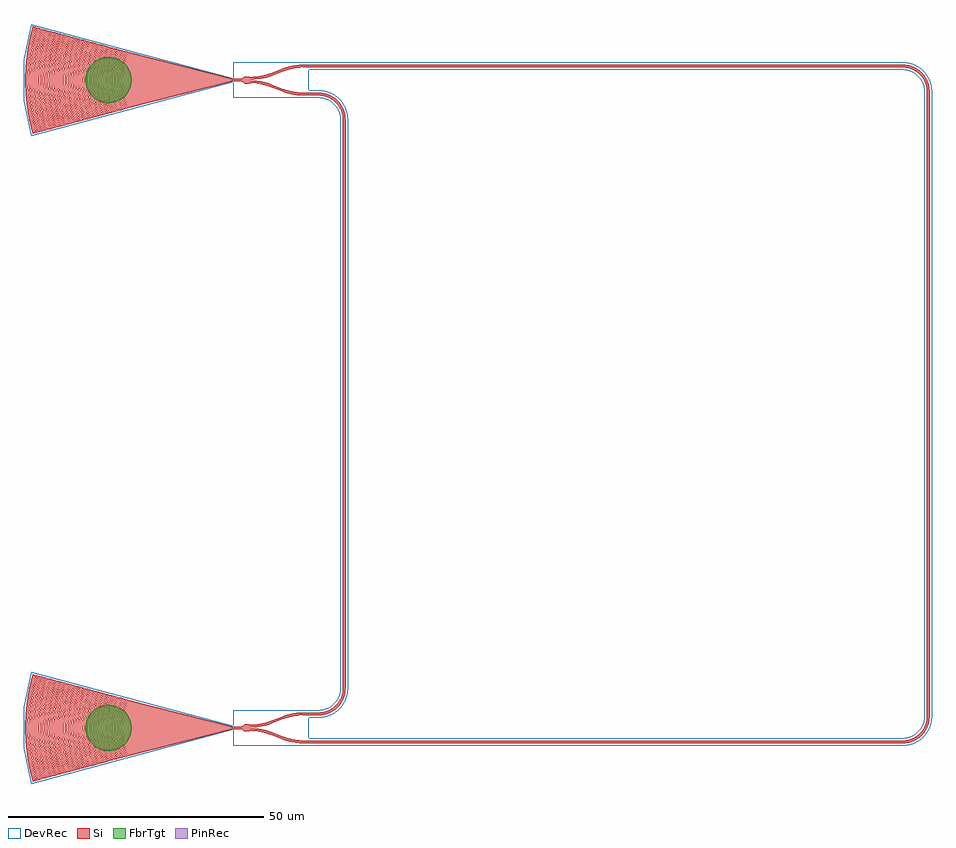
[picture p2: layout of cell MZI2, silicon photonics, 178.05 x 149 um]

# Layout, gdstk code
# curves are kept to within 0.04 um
import gdstk
lib = gdstk.Library(unit=1e-6, precision=1e-09)
def R(c, l, rs):  # rectangles x0, y0, x1, y1
    for r in rs: c.add(gdstk.rectangle(r[:2], r[2:], *l))
def P(c, l, *ps):  # polygons
    for p in ps: c.add(gdstk.Polygon(p, *l))
Si = (1, 0)
PinRec = (1, 10)
DevRec = (68, 0)
FbrTgt = (81, 0)

tm1550_subgc_10degree_ox = lib.new_cell('TM1550_SubGC_10degree_oxide')
P(tm1550_subgc_10degree_ox, Si, [(-20.951,-5.614),(-21.312,-4.239),(-21.572,-2.84),(-21.733,-1.367),(-21.781,-0.057),(-21.733,1.367),(-21.572,2.84),(-21.312,4.239),(-20.951,5.614),(-20.815,5.577),(-21.015,4.871),(-21.223,3.991),(-21.371,3.213),(-21.508,2.261),(-21.611,1.076),(-21.641,0.057),(-21.611,-1.076),(-21.508,-2.261),(-21.371,-3.213),(-21.223,-3.991),(-21.015,-4.871),(-20.815,-5.577)],
  [(-21.624,-5.794),(-22.009,-4.318),(-22.255,-2.989),(-22.416,-1.587),(-22.478,-0.177),(-22.437,1.294),(-22.272,2.873),(-22.009,4.318),(-21.624,5.794),(-21.069,5.645),(-21.621,3.308),(-21.882,0.917),(-21.887,-0.803),(-21.748,-2.459),(-21.481,-4.039),(-21.069,-5.645)],
  [(-21.878,-5.862),(-22.116,-5.004),(-22.279,-4.31),(-22.524,-2.965),(-22.622,-2.198),(-22.691,-1.428),(-22.741,-0.06),(-22.691,1.428),(-22.622,2.198),(-22.524,2.965),(-22.279,4.31),(-22.116,5.004),(-21.878,5.862),(-21.743,5.826),(-21.95,5.088),(-22.154,4.226),(-22.32,3.356),(-22.441,2.537),(-22.563,1.242),(-22.601,0.059),(-22.563,-1.242),(-22.441,-2.537),(-22.32,-3.356),(-22.154,-4.226),(-21.95,-5.088),(-21.743,-5.826)],
  [(-22.552,-6.043),(-22.911,-4.682),(-23.188,-3.238),(-23.378,-1.594),(-23.438,-0.184),(-23.387,1.471),(-23.233,2.935),(-22.951,4.503),(-22.552,6.043),(-21.996,5.894),(-22.56,3.513),(-22.744,2.21),(-22.844,0.898),(-22.849,-0.778),(-22.702,-2.566),(-22.412,-4.275),(-21.996,-5.894)],
  [(-22.805,-6.111),(-23.168,-4.735),(-23.309,-4.068),(-23.457,-3.213),(-23.542,-2.599),(-23.64,-1.612),(-23.686,-0.806),(-23.701,-0.062),(-23.686,0.806),(-23.649,1.488),(-23.493,2.968),(-23.366,3.763),(-23.195,4.614),(-23.006,5.396),(-22.805,6.111),(-22.67,6.074),(-22.885,5.304),(-23.11,4.346),(-23.28,3.438),(-23.395,2.645),(-23.525,1.233),(-23.561,0.062),(-23.525,-1.233),(-23.395,-2.645),(-23.28,-3.438),(-23.11,-4.346),(-22.885,-5.304),(-22.67,-6.074)],
  [(-23.479,-6.291),(-23.893,-4.688),(-24.167,-3.182),(-24.336,-1.659),(-24.398,-0.128),(-24.345,1.532),(-24.167,3.182),(-23.893,4.688),(-23.479,6.291),(-22.923,6.142),(-23.26,4.88),(-23.519,3.599),(-23.706,2.241),(-23.806,0.873),(-23.806,-0.873),(-23.656,-2.674),(-23.368,-4.394),(-22.923,-6.142)],
  [(-23.732,-6.359),(-24.094,-4.99),(-24.266,-4.17),(-24.418,-3.28),(-24.526,-2.448),(-24.598,-1.677),(-24.64,-0.968),(-24.661,-0.065),(-24.645,0.839),(-24.598,1.677),(-24.526,2.448),(-24.418,3.28),(-24.302,3.98),(-24.094,4.99),(-23.732,6.359),(-23.597,6.323),(-23.852,5.397),(-24.04,4.586),(-24.219,3.641),(-24.357,2.689),(-24.484,1.283),(-24.521,0.064),(-24.484,-1.283),(-24.357,-2.689),(-24.219,-3.641),(-24.04,-4.586),(-23.852,-5.397),(-23.597,-6.323)],
  [(-24.406,-6.54),(-24.821,-4.937),(-25.119,-3.307),(-25.308,-1.526),(-25.358,-0.133),(-25.308,1.526),(-25.119,3.307),(-24.821,4.937),(-24.406,6.54),(-23.851,6.391),(-24.214,5.014),(-24.468,3.744),(-24.655,2.396),(-24.765,0.908),(-24.765,-0.908),(-24.61,-2.782),(-24.298,-4.635),(-23.851,-6.391)],
  [(-24.66,-6.608),(-25.064,-5.054),(-25.213,-4.332),(-25.379,-3.341),(-25.481,-2.543),(-25.57,-1.542),(-25.621,-0.067),(-25.57,1.542),(-25.481,2.543),(-25.379,3.341),(-25.213,4.332),(-25.064,5.054),(-24.66,6.608),(-24.525,6.571),(-24.772,5.674),(-24.997,4.701),(-25.19,3.652),(-25.303,2.861),(-25.43,1.533),(-25.481,0.067),(-25.43,-1.533),(-25.303,-2.861),(-25.19,-3.652),(-24.997,-4.701),(-24.772,-5.674),(-24.525,-6.571)],
  [(-25.333,-6.788),(-25.702,-5.393),(-26.04,-3.636),(-26.246,-1.858),(-26.318,-0.138),(-26.266,1.583),(-26.09,3.296),(-25.777,5.057),(-25.333,6.788),(-24.778,6.639),(-25.139,5.275),(-25.439,3.756),(-25.631,2.287),(-25.727,0.876),(-25.727,-0.876),(-25.572,-2.823),(-25.241,-4.815),(-24.778,-6.639)],
  [(-25.587,-6.856),(-25.81,-6.054),(-26.02,-5.176),(-26.172,-4.427),(-26.321,-3.535),(-26.421,-2.777),(-26.508,-1.877),(-26.564,-0.904),(-26.581,-0.07),(-26.569,0.765),(-26.528,1.599),(-26.444,2.57),(-26.341,3.398),(-26.197,4.29),(-26.02,5.176),(-25.81,6.054),(-25.587,6.856),(-25.452,6.82),(-25.708,5.888),(-25.926,4.946),(-26.129,3.858),(-26.257,2.968),(-26.393,1.522),(-26.441,0.069),(-26.393,-1.522),(-26.257,-2.968),(-26.129,-3.858),(-25.926,-4.946),(-25.708,-5.888),(-25.452,-6.82)],
  [(-26.261,-7.037),(-26.704,-5.312),(-27.012,-3.628),(-27.204,-1.926),(-27.278,-0.143),(-27.229,1.57),(-27.052,3.346),(-26.704,5.312),(-26.261,7.037),(-25.705,6.888),(-26.063,5.54),(-26.366,4.034),(-26.566,2.581),(-26.684,0.978),(-26.678,-1.118),(-26.509,-3.067),(-26.184,-4.995),(-25.705,-6.888)],
  [(-26.514,-7.104),(-26.744,-6.273),(-26.946,-5.433),(-27.157,-4.374),(-27.293,-3.52),(-27.471,-1.873),(-27.521,-1.009),(-27.541,-0.072),(-27.491,1.585),(-27.407,2.591),(-27.293,3.52),(-27.157,4.374),(-26.946,5.433),(-26.744,6.273),(-26.514,7.104),(-26.379,7.068),(-26.626,6.172),(-26.869,5.126),(-27.067,4.069),(-27.202,3.147),(-27.351,1.577),(-27.401,0.072),(-27.36,-1.434),(-27.289,-2.363),(-27.202,-3.147),(-27.067,-4.069),(-26.869,-5.126),(-26.626,-6.172),(-26.379,-7.068)],
  [(-27.188,-7.285),(-27.661,-5.427),(-27.974,-3.683),(-28.167,-1.92),(-28.238,-0.148),(-28.192,1.551),(-27.995,3.537),(-27.661,5.427),(-27.188,7.285),(-26.633,7.136),(-27.002,5.739),(-27.315,4.18),(-27.529,2.602),(-27.646,0.941),(-27.637,-1.158),(-27.444,-3.321),(-27.127,-5.175),(-26.633,-7.136)],
  [(-27.442,-7.353),(-27.871,-5.696),(-28.065,-4.747),(-28.213,-3.865),(-28.347,-2.829),(-28.429,-1.938),(-28.483,-0.97),(-28.501,-0.075),(-28.483,0.97),(-28.429,1.938),(-28.355,2.755),(-28.245,3.643),(-28.065,4.747),(-27.903,5.55),(-27.716,6.348),(-27.442,7.353),(-27.306,7.317),(-27.543,6.46),(-27.797,5.378),(-27.992,4.358),(-28.146,3.331),(-28.305,1.706),(-28.361,0.074),(-28.346,-0.891),(-28.305,-1.706),(-28.146,-3.331),(-27.992,-4.358),(-27.797,-5.378),(-27.543,-6.46),(-27.306,-7.317)],
  [(-28.115,-7.533),(-28.587,-5.686),(-28.904,-3.959),(-29.125,-1.986),(-29.198,-0.153),(-29.141,1.757),(-28.937,3.733),(-28.587,5.686),(-28.115,7.533),(-27.56,7.385),(-27.991,5.72),(-28.3,4.103),(-28.507,2.469),(-28.608,0.899),(-28.596,-1.199),(-28.416,-3.288),(-28.07,-5.355),(-27.56,-7.385)],
  [(-28.369,-7.601),(-28.633,-6.637),(-28.828,-5.813),(-28.997,-4.983),(-29.164,-3.995),(-29.285,-3.078),(-29.381,-2.08),(-29.433,-1.234),(-29.461,-0.077),(-29.45,0.771),(-29.403,1.773),(-29.334,2.618),(-29.208,3.69),(-29.079,4.528),(-28.877,5.587),(-28.633,6.637),(-28.369,7.601),(-28.234,7.565),(-28.515,6.531),(-28.755,5.485),(-28.953,4.43),(-29.109,3.368),(-29.268,1.688),(-29.321,0.077),(-29.308,-0.844),(-29.268,-1.688),(-29.128,-3.216),(-28.978,-4.279),(-28.786,-5.335),(-28.552,-6.382),(-28.234,-7.565)],
  [(-29.043,-7.782),(-29.545,-5.796),(-29.878,-3.933),(-30.094,-1.893),(-30.158,-0.158),(-30.094,1.893),(-29.9,3.777),(-29.545,5.796),(-29.043,7.782),(-28.487,7.633),(-28.948,5.837),(-29.25,4.241),(-29.456,2.629),(-29.565,1.007),(-29.562,-1.084),(-29.37,-3.398),(-29.013,-5.534),(-28.487,-7.633)],
  [(-29.296,-7.85),(-29.568,-6.853),(-29.803,-5.847),(-30.014,-4.754),(-30.138,-3.968),(-30.266,-2.941),(-30.356,-1.91),(-30.402,-1.035),(-30.421,-0.08),(-30.402,1.035),(-30.356,1.91),(-30.266,2.941),(-30.138,3.968),(-30.014,4.754),(-29.803,5.847),(-29.568,6.853),(-29.296,7.85),(-29.161,7.814),(-29.451,6.745),(-29.73,5.51),(-29.928,4.419),(-30.082,3.321),(-30.236,1.585),(-30.281,0.079),(-30.236,-1.585),(-30.082,-3.321),(-29.928,-4.419),(-29.73,-5.51),(-29.451,-6.745),(-29.161,-7.814)],
  [(-29.97,-8.03),(-30.453,-6.14),(-30.818,-4.139),(-31.028,-2.279),(-31.118,-0.163),(-31.052,1.954),(-30.841,3.978),(-30.47,6.061),(-29.97,8.03),(-29.415,7.882),(-29.872,6.105),(-30.248,4.063),(-30.448,2.316),(-30.543,0.16),(-30.478,-1.917),(-30.248,-4.063),(-29.872,-6.105),(-29.415,-7.882)],
  [(-30.223,-8.098),(-30.483,-7.15),(-30.745,-6.032),(-30.934,-5.066),(-31.09,-4.093),(-31.23,-2.952),(-31.314,-1.97),(-31.367,-0.904),(-31.381,-0.082),(-31.367,0.904),(-31.314,1.97),(-31.23,2.952),(-31.09,4.093),(-30.934,5.066),(-30.745,6.032),(-30.483,7.15),(-30.223,8.098),(-30.088,8.062),(-30.367,7.039),(-30.641,5.845),(-30.824,4.882),(-31.006,3.67),(-31.107,2.776),(-31.185,1.798),(-31.241,0.082),(-31.227,-0.9),(-31.185,-1.798),(-31.107,-2.776),(-31.006,-3.67),(-30.824,-4.882),(-30.641,-5.845),(-30.367,-7.039),(-30.088,-8.062)],
  [(-30.897,-8.279),(-31.394,-6.33),(-31.757,-4.35),(-31.992,-2.265),(-32.078,-0.168),(-32.01,2.014),(-31.793,4.101),(-31.394,6.33),(-30.897,8.279),(-30.342,8.13),(-30.865,6.055),(-31.223,4.027),(-31.436,1.978),(-31.503,0.165),(-31.436,-1.978),(-31.223,-4.027),(-30.865,-6.055),(-30.342,-8.13)],
  [(-31.151,-8.347),(-31.375,-7.533),(-31.633,-6.465),(-31.836,-5.47),(-32.017,-4.386),(-32.168,-3.211),(-32.26,-2.199),(-32.321,-1.1),(-32.341,-0.085),(-32.324,1.016),(-32.272,2.03),(-32.177,3.127),(-32.065,4.051),(-31.896,5.137),(-31.687,6.217),(-31.459,7.205),(-31.151,8.347),(-31.016,8.311),(-31.302,7.255),(-31.584,6.025),(-31.8,4.866),(-31.97,3.699),(-32.138,1.937),(-32.184,1.011),(-32.201,0.084),(-32.184,-1.011),(-32.138,-1.937),(-31.97,-3.699),(-31.8,-4.866),(-31.584,-6.025),(-31.302,-7.255),(-31.016,-8.311)],
  [(-31.824,-8.527),(-32.335,-6.52),(-32.721,-4.395),(-32.956,-2.247),(-33.038,-0.173),(-32.974,1.988),(-32.757,4.138),(-32.371,6.351),(-31.824,8.527),(-31.269,8.379),(-31.753,6.489),(-32.151,4.318),(-32.376,2.292),(-32.463,0.17),(-32.4,-1.953),(-32.175,-4.15),(-31.807,-6.24),(-31.269,-8.379)],
  [(-32.078,-8.595),(-32.331,-7.672),(-32.592,-6.572),(-32.782,-5.633),(-32.981,-4.43),(-33.123,-3.306),(-33.218,-2.265),(-33.277,-1.22),(-33.301,-0.087),(-33.277,1.22),(-33.218,2.265),(-33.123,3.306),(-32.981,4.43),(-32.782,5.633),(-32.592,6.572),(-32.331,7.672),(-32.078,8.595),(-31.943,8.559),(-32.279,7.304),(-32.527,6.205),(-32.749,5.011),(-32.934,3.723),(-33.043,2.688),(-33.107,1.822),(-33.161,0.087),(-33.149,-0.868),(-33.107,-1.822),(-33.043,-2.688),(-32.934,-3.723),(-32.749,-5.011),(-32.527,-6.205),(-32.279,-7.304),(-31.943,-8.559)],
  [(-32.752,-8.776),(-33.295,-6.623),(-33.685,-4.435),(-33.907,-2.401),(-33.998,-0.178),(-33.92,2.223),(-33.685,4.435),(-33.295,6.623),(-32.752,8.776),(-32.196,8.627),(-32.731,6.511),(-33.115,4.36),(-33.34,2.273),(-33.423,0.175),(-33.358,-2.011),(-33.115,-4.36),(-32.731,-6.511),(-32.196,-8.627)],
  [(-33.005,-8.844),(-33.309,-7.721),(-33.571,-6.586),(-33.776,-5.531),(-33.945,-4.469),(-34.088,-3.312),(-34.182,-2.24),(-34.243,-1.076),(-34.261,-0.09),(-34.243,1.076),(-34.182,2.24),(-34.088,3.312),(-33.945,4.469),(-33.776,5.531),(-33.571,6.586),(-33.309,7.721),(-33.005,8.844),(-32.87,8.808),(-33.194,7.602),(-33.452,6.472),(-33.698,5.156),(-33.866,4.008),(-33.984,2.943),(-34.06,1.964),(-34.106,0.982),(-34.121,0.089),(-34.106,-0.982),(-34.06,-1.964),(-33.984,-2.943),(-33.866,-4.008),(-33.698,-5.156),(-33.452,-6.472),(-33.194,-7.602),(-32.87,-8.808)],
  [(-33.679,-9.024),(-34.217,-6.899),(-34.624,-4.651),(-34.878,-2.286),(-34.958,-0.183),(-34.896,2.012),(-34.662,4.379),(-34.255,6.721),(-33.679,9.024),(-33.124,8.875),(-33.653,6.786),(-34.054,4.574),(-34.291,2.428),(-34.383,0.18),(-34.322,-1.979),(-34.079,-4.396),(-33.691,-6.61),(-33.124,-8.875)],
  [(-33.933,-9.092),(-34.199,-8.116),(-34.494,-6.861),(-34.691,-5.867),(-34.884,-4.685),(-35.053,-3.313),(-35.14,-2.303),(-35.199,-1.198),(-35.221,-0.092),(-35.199,1.198),(-35.14,2.303),(-35.053,3.313),(-34.91,4.503),(-34.755,5.505),(-34.494,6.861),(-34.199,8.116),(-33.933,9.092),(-33.797,9.056),(-34.13,7.817),(-34.413,6.565),(-34.647,5.302),(-34.831,4.03),(-34.957,2.843),(-35.024,1.927),(-35.081,0.092),(-35.068,-0.918),(-35.024,-1.927),(-34.957,-2.843),(-34.831,-4.03),(-34.647,-5.302),(-34.413,-6.565),(-34.13,-7.817),(-33.797,-9.056)],
  [(-34.606,-9.273),(-35.178,-6.997),(-35.575,-4.778),(-35.836,-2.349),(-35.918,-0.188),(-35.86,1.973),(-35.627,4.406),(-35.178,6.997),(-34.606,9.273),(-34.051,9.124),(-34.614,6.885),(-34.992,4.793),(-35.234,2.68),(-35.343,0.185),(-35.286,-1.942),(-35.044,-4.427),(-34.614,-6.885),(-34.051,-9.124)],
  [(-34.86,-9.341),(-35.202,-8.062),(-35.455,-6.956),(-35.687,-5.748),(-35.849,-4.72),(-35.999,-3.498),(-36.098,-2.366),(-36.162,-1.136),(-36.181,-0.095),(-36.162,1.136),(-36.098,2.366),(-35.999,3.498),(-35.849,4.72),(-35.687,5.748),(-35.455,6.956),(-35.202,8.062),(-34.86,9.341),(-34.725,9.304),(-35.043,8.122),(-35.337,6.837),(-35.596,5.447),(-35.773,4.234),(-35.888,3.203),(-35.971,2.169),(-36.022,1.132),(-36.041,0.094),(-36.028,-0.943),(-35.977,-2.074),(-35.888,-3.203),(-35.773,-4.234),(-35.596,-5.447),(-35.337,-6.837),(-35.043,-8.122),(-34.725,-9.304)],
  [(-35.534,-9.521),(-36.099,-7.279),(-36.513,-5.002),(-36.78,-2.604),(-36.878,-0.193),(-36.807,2.219),(-36.567,4.619),(-36.159,6.996),(-35.534,9.521),(-34.978,9.372),(-35.575,6.98),(-35.957,4.83),(-36.199,2.658),(-36.303,0.19),(-36.22,-2.374),(-35.957,-4.83),(-35.575,-6.98),(-34.978,-9.372)],
  [(-35.787,-9.589),(-36.091,-8.465),(-36.377,-7.236),(-36.584,-6.188),(-36.787,-4.941),(-36.923,-3.881),(-37.049,-2.526),(-37.118,-1.264),(-37.141,-0.097),(-37.118,1.264),(-37.056,2.429),(-36.944,3.687),(-36.814,4.749),(-36.635,5.901),(-36.377,7.236),(-36.091,8.465),(-35.787,9.589),(-35.652,9.553),(-35.978,8.339),(-36.299,6.924),(-36.545,5.592),(-36.714,4.443),(-36.825,3.481),(-36.923,2.323),(-36.978,1.259),(-37.001,0.097),(-36.978,-1.259),(-36.923,-2.323),(-36.825,-3.481),(-36.714,-4.443),(-36.545,-5.592),(-36.299,-6.924),(-35.978,-8.339),(-35.652,-9.553)],
  [(-36.461,-9.77),(-37.061,-7.372),(-37.464,-5.132),(-37.73,-2.771),(-37.838,-0.198),(-37.765,2.277),(-37.506,4.838),(-37.061,7.372),(-36.461,9.77),(-35.906,9.621),(-36.497,7.26),(-36.922,4.861),(-37.164,2.631),(-37.263,0.195),(-37.185,-2.339),(-36.922,-4.861),(-36.497,-7.26),(-35.906,-9.621)],
  [(-36.714,-9.838),(-37.001,-8.781),(-37.276,-7.618),(-37.548,-6.25),(-37.724,-5.168),(-37.91,-3.684),(-38.014,-2.492),(-38.081,-1.197),(-38.101,-0.1),(-38.081,1.197),(-38.014,2.492),(-37.91,3.684),(-37.766,4.871),(-37.548,6.25),(-37.339,7.326),(-37.001,8.781),(-36.714,9.838),(-36.579,9.801),(-36.937,8.46),(-37.222,7.201),(-37.461,5.933),(-37.667,4.558),(-37.8,3.374),(-37.881,2.383),(-37.941,1.192),(-37.961,0.099),(-37.95,-0.894),(-37.911,-1.887),(-37.836,-2.978),(-37.692,-4.361),(-37.494,-5.737),(-37.262,-7.007),(-36.937,-8.46),(-36.579,-9.801)],
  [(-37.388,-10.018),(-37.981,-7.658),(-38.444,-5.061),(-38.71,-2.537),(-38.798,-0.203),(-38.71,2.537),(-38.458,4.961),(-38.044,7.361),(-37.388,10.018),(-36.833,9.869),(-37.459,7.349),(-37.874,4.986),(-38.129,2.599),(-38.223,0.2),(-38.143,-2.4),(-37.874,-4.986),(-37.459,-7.349),(-36.833,-9.869)],
  [(-37.642,-10.086),(-37.985,-8.804),(-38.26,-7.61),(-38.513,-6.307),(-38.704,-5.095),(-38.876,-3.675),(-38.957,-2.758),(-39.037,-1.329),(-39.061,-0.102),(-39.037,1.329),(-38.957,2.758),(-38.876,3.675),(-38.704,5.095),(-38.513,6.307),(-38.26,7.61),(-37.985,8.804),(-37.642,10.086),(-37.507,10.05),(-37.873,8.674),(-38.185,7.284),(-38.426,5.983),(-38.633,4.572),(-38.766,3.357),(-38.839,2.444),(-38.897,1.324),(-38.921,0.102),(-38.904,-1.121),(-38.852,-2.24),(-38.766,-3.357),(-38.633,-4.572),(-38.426,-5.983),(-38.185,-7.284),(-37.873,-8.674),(-37.507,-10.05)],
  [(-38.316,-10.267),(-38.944,-7.746),(-39.381,-5.29),(-39.66,-2.704),(-39.758,-0.208),(-39.675,2.496),(-39.41,5.083),(-38.987,7.543),(-38.316,10.267),(-37.76,10.118),(-38.337,7.835),(-38.811,5.213),(-39.079,2.767),(-39.183,0.205),(-39.114,-2.255),(-38.867,-4.807),(-38.422,-7.434),(-37.76,-10.118)],
  [(-38.569,-10.335),(-38.895,-9.123),(-39.223,-7.695),(-39.442,-6.565),(-39.656,-5.221),(-39.821,-3.869),(-39.937,-2.513),(-40,-1.257),(-40.021,-0.105),(-40,1.257),(-39.937,2.513),(-39.821,3.869),(-39.656,5.221),(-39.442,6.565),(-39.223,7.695),(-38.895,9.123),(-38.569,10.335),(-38.434,10.298),(-38.733,9.192),(-39.086,7.668),(-39.34,6.336),(-39.573,4.789),(-39.692,3.752),(-39.804,2.4),(-39.86,1.253),(-39.881,0.104),(-39.86,-1.253),(-39.804,-2.4),(-39.692,-3.752),(-39.573,-4.789),(-39.34,-6.336),(-39.086,-7.668),(-38.733,-9.192),(-38.434,-10.298)],
  [(-39.243,-10.515),(-39.841,-8.142),(-40.317,-5.523),(-40.602,-2.982),(-40.718,-0.213),(-40.64,2.45),(-40.362,5.206),(-39.907,7.83),(-39.243,10.515),(-38.687,10.366),(-39.365,7.616),(-39.792,5.133),(-40.052,2.625),(-40.143,0.21),(-40.066,-2.415),(-39.792,-5.133),(-39.365,-7.616),(-38.687,-10.366)],
  [(-20.697,-5.546),(-21.042,-4.243),(-21.295,-2.917),(-21.449,-1.632),(-21.518,-0.169),(-21.471,1.351),(-21.32,2.75),(-21.067,4.133),(-20.697,5.546),(0,0.25),(0,-0.25)])
tm1550_subgc_10degree_ox.add(gdstk.Label('Ref: Yun Wang, Optics Express, 08/2014', (-39,0), layer=10, texttype=0))
tm1550_subgc_10degree_ox.add(gdstk.Label('http://dx.doi.org/10.1364/OE.22.020652', (-39,-2), layer=10, texttype=0))
tm1550_subgc_10degree_ox.add(gdstk.Label('TM 1550 +10 deg', (-39,2), layer=10, texttype=0))

ebeam_gc_tm1550 = lib.new_cell('ebeam_gc_tm1550')
R(ebeam_gc_tm1550, Si, [(-0.001,-0.001,0.001,0.001)])
R(ebeam_gc_tm1550, PinRec, [(-0.05,-0.25,0.05,0.25)])
P(ebeam_gc_tm1550, DevRec, [(-39.6,-11),(-41,-4),(-41,4),(-39.6,11),(0,0.4),(0,-0.4)])
P(ebeam_gc_tm1550, FbrTgt, [(-24.621,-4.5),(-25.495,-4.37),(-26.326,-4.073),(-27.084,-3.619),(-27.738,-3.026),(-28.264,-2.316),(-28.642,-1.518),(-28.857,-0.661),(-28.9,0.221),(-28.77,1.095),(-28.473,1.926),(-28.019,2.684),(-27.426,3.338),(-26.716,3.864),(-25.918,4.242),(-25.061,4.457),(-24.179,4.5),(-23.305,4.37),(-22.474,4.073),(-21.716,3.619),(-21.062,3.026),(-20.536,2.316),(-20.158,1.518),(-19.943,0.661),(-19.9,-0.221),(-20.03,-1.095),(-20.327,-1.926),(-20.781,-2.684),(-21.374,-3.338),(-22.084,-3.864),(-22.882,-4.242),(-23.739,-4.457)])
ebeam_gc_tm1550.add(gdstk.Reference(tm1550_subgc_10degree_ox, (0,0)))
ebeam_gc_tm1550.add(gdstk.Label('opt1', (0,0), layer=1, texttype=10))
ebeam_gc_tm1550.add(gdstk.Label('Component=ebeam_gc_tm1550', (-35,-5), layer=68, texttype=0))
ebeam_gc_tm1550.add(gdstk.Label('Lumerical_INTERCONNECT_library=Design kits/ebeam', (-38,-6), layer=68, texttype=0))

ebeam_y_1550 = lib.new_cell('ebeam_y_1550')
R(ebeam_y_1550, Si, [(6.5,-3,7.4,-2.5), (-7.4,-0.25,-6,0.25), (6.5,2.5,7.4,3)])
P(ebeam_y_1550, Si, [(6.458,-3),(6.237,-2.997),(6.237,-2.497),(6.5,-2.5),(6.5,-3)],
  [(5.033,-2.908),(3.59,-2.634),(2.265,-2.21),(2.445,-1.744),(3.731,-2.154),(5.033,-2.404)],
  [(6.233,-2.997),(5.033,-2.908),(5.033,-2.404),(6.237,-2.497)],
  [(2.265,-2.21),(0.055,-1.356),(0.235,-0.89),(2.445,-1.744)],
  [(-0.762,-1.076),(-2.334,-0.724),(-4,-0.6),(-4,-0.1),(-2.381,-0.212),(-0.762,-0.555)],
  [(0.055,-1.356),(-0.762,-1.076),(-0.762,-0.555),(0.235,-0.89)],
  [(6.237,2.497),(6.237,2.997),(6.5,3),(6.5,2.5)],
  [(2.445,1.744),(2.267,2.211),(3.59,2.634),(5.033,2.908),(5.033,2.404),(3.731,2.154)],
  [(5.033,2.404),(5.033,2.908),(6.237,2.997),(6.237,2.497)],
  [(0.235,0.89),(0.055,1.356),(2.265,2.21),(2.445,1.744)],
  [(-4,0.1),(-4,0.6),(-2.334,0.724),(-0.762,1.076),(-0.762,0.555),(-2.381,0.212)],
  [(-0.762,0.555),(-0.762,1.076),(0.055,1.356),(0.235,0.89)],
  [(-5.122,-0.662),(-5.442,-0.374),(-5.808,-0.255),(-6,-0.25),(-6,0.25),(-5.817,0.253),(-5.442,0.374),(-5.122,0.662)],
  [(-4.957,-0.703),(-5.122,-0.662),(-5.122,0.662),(-4.538,0.703),(-4,0.6),(-4,-0.6),(-4.509,-0.701)])
R(ebeam_y_1550, PinRec, [(7.35,-3,7.45,-2.5), (-7.45,-0.25,-7.35,0.25), (7.35,2.5,7.45,3)])
R(ebeam_y_1550, DevRec, [(-7.4,-3.5,7.4,3.5)])
ebeam_y_1550.add(gdstk.Label('Ref: Y Zhang, Opt. Express, 21/1, 2013', (-7.5,-1), layer=10, texttype=0))
ebeam_y_1550.add(gdstk.Label('opt2', (7.4,2.75), layer=1, texttype=10))
ebeam_y_1550.add(gdstk.Label('opt3', (7.4,-2.75), layer=1, texttype=10))
ebeam_y_1550.add(gdstk.Label('opt1', (-7.4,0), layer=1, texttype=10))
ebeam_y_1550.add(gdstk.Label('Component=ebeam_y_1550', (-6,1.5), layer=68, texttype=0))
ebeam_y_1550.add(gdstk.Label('Lumerical_INTERCONNECT_library=Design kits/ebeam', (-6.86,-2.19), layer=68, texttype=0))

mzi2_yb1_opt2_to_yb2_opt = lib.new_cell('MZI2_yb1_opt2_to_yb2_opt3')
P(mzi2_yb1_opt2_to_yb2_opt, Si, [(14.8,2.5),(16.981,2.503),(17.791,2.594),(18.83,2.908),(19.856,3.481),(20.73,4.269),(21.449,5.31),(21.875,6.406),(22.049,7.659),(22.043,119.522),(21.897,120.506),(21.569,121.446),(21.069,122.306),(20.415,123.057),(19.707,123.622),(18.83,124.092),(17.88,124.388),(16.891,124.499),(14.8,124.5),(14.8,124),(16.882,123.999),(17.535,123.943),(18.561,123.662),(19.43,123.205),(20.301,122.461),(20.927,121.601),(21.347,120.624),(21.544,119.496),(21.549,7.668),(21.412,6.613),(21.043,5.615),(20.462,4.725),(19.632,3.936),(18.637,3.369),(17.697,3.085),(16.964,3.003),(14.8,3)])
R(mzi2_yb1_opt2_to_yb2_opt, PinRec, [(14.75,2.5,14.85,3), (14.75,124,14.85,124.5)])
P(mzi2_yb1_opt2_to_yb2_opt, DevRec, [(14.8,2),(16.998,2.003),(17.983,2.123),(19.115,2.486),(20.228,3.133),(20.759,3.58),(21.233,4.088),(21.937,5.166),(22.383,6.374),(22.549,7.651),(22.547,119.448),(22.406,120.53),(22.064,121.565),(21.532,122.516),(20.831,123.351),(19.984,124.038),(19.023,124.553),(17.983,124.877),(16.899,124.999),(14.8,125),(14.8,123.5),(17.458,123.449),(18.307,123.224),(19.154,122.789),(19.932,122.123),(20.529,121.29),(20.889,120.409),(21.047,119.397),(21.049,7.677),(20.943,6.804),(20.66,5.972),(20.212,5.216),(19.673,4.618),(18.84,4.021),(18.307,3.776),(17.746,3.607),(16.947,3.503),(14.8,3.5)])
mzi2_yb1_opt2_to_yb2_opt.add(gdstk.Label('pin1', (14.8,2.75), layer=1, texttype=10))
mzi2_yb1_opt2_to_yb2_opt.add(gdstk.Label('pin2', (14.8,124.25), layer=1, texttype=10))

mzi2_yb1_opt3_to_yb2_opt = lib.new_cell('MZI2_yb1_opt3_to_yb2_opt2')
P(mzi2_yb1_opt3_to_yb2_opt, Si, [(14.8,-3),(131.391,-2.999),(132.468,-2.868),(133.496,-2.519),(134.356,-2.019),(135.169,-1.299),(135.769,-0.505),(136.209,0.388),(136.456,1.259),(136.55,2.249),(136.55,124.751),(136.438,125.83),(136.106,126.863),(135.569,127.806),(134.849,128.619),(134.055,129.219),(133.246,129.626),(132.291,129.906),(131.391,129.999),(14.8,130),(14.8,129.5),(131.546,129.494),(132.437,129.362),(133.287,129.065),(134.065,128.612),(134.745,128.021),(135.3,127.312),(135.712,126.511),(135.965,125.647),(136.05,124.749),(136.05,2.251),(135.965,1.353),(135.712,0.489),(135.3,-0.312),(134.745,-1.021),(133.998,-1.659),(133.137,-2.131),(132.197,-2.415),(131.382,-2.499),(14.8,-2.5)])
R(mzi2_yb1_opt3_to_yb2_opt, PinRec, [(14.75,-3,14.85,-2.5), (14.75,129.5,14.85,130)])
P(mzi2_yb1_opt3_to_yb2_opt, DevRec, [(14.8,-3.5),(131.399,-3.499),(132.58,-3.356),(133.615,-3.014),(134.648,-2.425),(135.538,-1.637),(136.195,-0.767),(136.64,0.119),(136.947,1.165),(137.049,2.151),(137.05,124.753),(136.927,125.933),(136.564,127.065),(135.975,128.098),(135.187,128.988),(134.317,129.645),(133.431,130.09),(132.385,130.397),(131.399,130.499),(14.8,130.5),(14.8,129),(131.52,128.994),(132.317,128.876),(133.078,128.61),(133.714,128.248),(134.382,127.676),(134.879,127.042),(135.247,126.325),(135.474,125.552),(135.55,124.747),(135.55,2.253),(135.474,1.448),(135.274,0.743),(134.918,0.02),(134.432,-0.623),(133.714,-1.248),(133.011,-1.64),(132.174,-1.909),(131.297,-2),(14.8,-2)])
mzi2_yb1_opt3_to_yb2_opt.add(gdstk.Label('pin1', (14.8,-2.75), layer=1, texttype=10))
mzi2_yb1_opt3_to_yb2_opt.add(gdstk.Label('pin2', (14.8,129.75), layer=1, texttype=10))

mzi2 = lib.new_cell('MZI2')
mzi2.add(gdstk.Reference(ebeam_gc_tm1550, (0,0)))
mzi2.add(gdstk.Reference(ebeam_gc_tm1550, (0,127)))
mzi2.add(gdstk.Reference(ebeam_y_1550, (7.4,0)))
mzi2.add(gdstk.Reference(ebeam_y_1550, (7.4,127)))
mzi2.add(gdstk.Reference(mzi2_yb1_opt2_to_yb2_opt, (0,0)))
mzi2.add(gdstk.Reference(mzi2_yb1_opt3_to_yb2_opt, (0,0)))

lib.write_gds('MZI2.gds')
